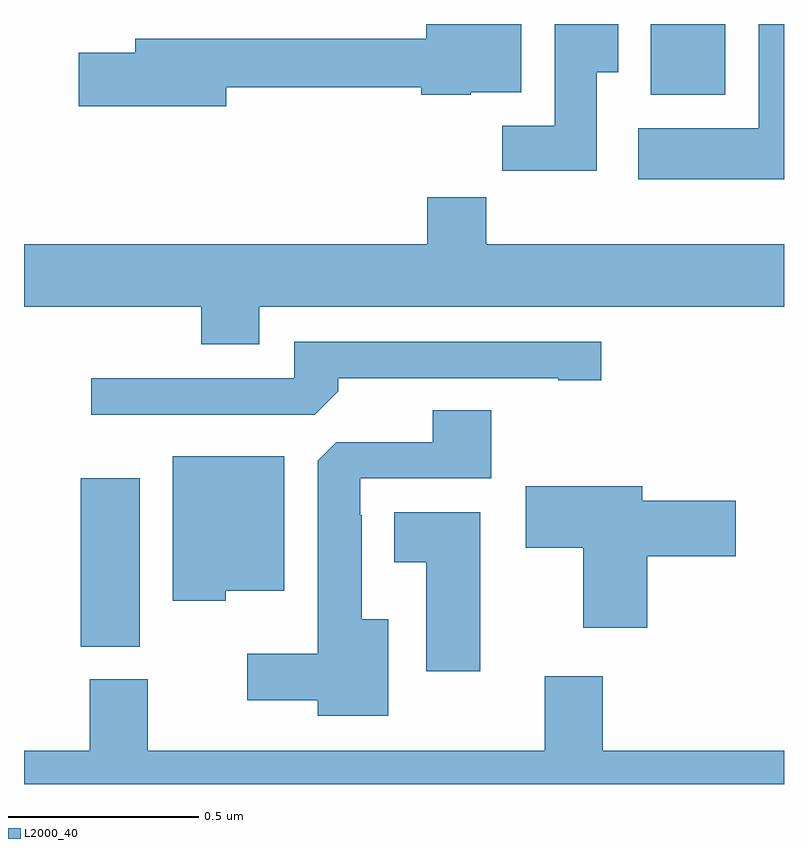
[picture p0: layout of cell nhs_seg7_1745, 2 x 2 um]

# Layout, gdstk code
import gdstk
lib = gdstk.Library(unit=1e-6, precision=1e-09)
def R(c, l, rs):  # rectangles x0, y0, x1, y1
    for r in rs: c.add(gdstk.rectangle(r[:2], r[2:], *l))
def P(c, l, *ps):  # polygons
    for p in ps: c.add(gdstk.Polygon(p, *l))
L2000_40 = (2000, 40)

nhs_seg7_1745 = lib.new_cell('nhs_seg7_1745')
R(nhs_seg7_1745, L2000_40, [(135.149,1026.361,135.304,1026.805), (136.649,1027.814,136.846,1028)])
P(nhs_seg7_1745, L2000_40, [(136.507,1027.873),(136.564,1027.873),(136.564,1028),(136.397,1028),(136.397,1027.732),(136.258,1027.732),(136.258,1027.614),(136.507,1027.614)],
  [(135.532,1027.833),(136.046,1027.833),(136.046,1027.814),(136.176,1027.814),(136.176,1027.82),(136.309,1027.82),(136.309,1028),(136.058,1028),(136.058,1027.961),(135.293,1027.961),(135.293,1027.925),(135.144,1027.925),(135.144,1027.783),(135.532,1027.783)],
  [(137,1028),(136.934,1028),(136.934,1027.726),(136.617,1027.726),(136.617,1027.592),(137,1027.592)],
  [(135.619,1027.256),(137,1027.256),(137,1027.42),(136.217,1027.42),(136.217,1027.544),(136.061,1027.544),(136.061,1027.42),(135,1027.42),(135,1027.256),(135.467,1027.256),(135.467,1027.157),(135.619,1027.157)],
  [(135.827,1027.034),(135.827,1027.068),(136.406,1027.068),(136.406,1027.063),(136.519,1027.063),(136.519,1027.164),(135.711,1027.164),(135.711,1027.068),(135.177,1027.068),(135.177,1026.972),(135.765,1026.972)],
  [(135.958,1026.433),(135.889,1026.433),(135.889,1026.707),(135.885,1026.707),(135.885,1026.804),(136.229,1026.804),(136.229,1026.983),(136.076,1026.983),(136.076,1026.9),(135.822,1026.9),(135.773,1026.851),(135.773,1026.343),(135.588,1026.343),(135.588,1026.221),(135.773,1026.221),(135.773,1026.179),(135.958,1026.179)],
  [(135.531,1026.509),(135.685,1026.509),(135.685,1026.862),(135.392,1026.862),(135.392,1026.482),(135.531,1026.482)],
  [(136.64,1026.599),(136.873,1026.599),(136.873,1026.746),(136.627,1026.746),(136.627,1026.784),(136.32,1026.784),(136.32,1026.622),(136.472,1026.622),(136.472,1026.411),(136.64,1026.411)],
  [(136.201,1026.715),(135.974,1026.715),(135.974,1026.584),(136.058,1026.584),(136.058,1026.297),(136.201,1026.297)],
  [(137,1026.088),(136.523,1026.088),(136.523,1026.283),(136.37,1026.283),(136.37,1026.088),(135.325,1026.088),(135.325,1026.276),(135.173,1026.276),(135.173,1026.088),(135,1026.088),(135,1026),(137,1026)])

lib.write_gds('nhs_seg7_1745.gds')
